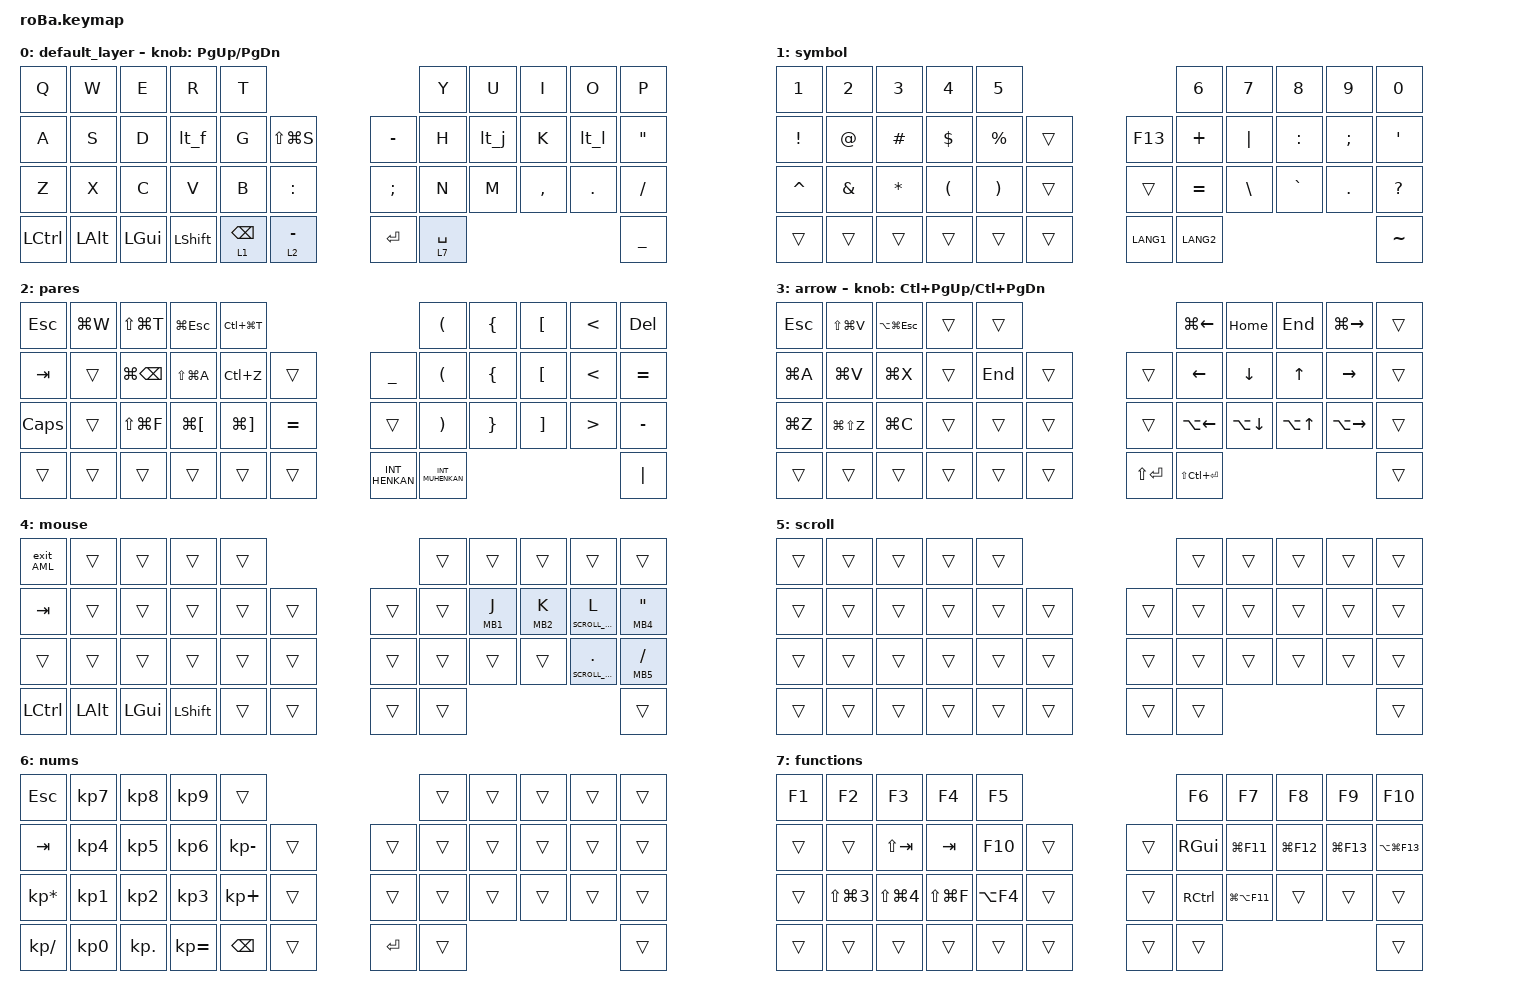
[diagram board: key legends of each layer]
#include <behaviors.dtsi>
#include <dt-bindings/zmk/bt.h>
#include <dt-bindings/zmk/keys.h>
#include <dt-bindings/zmk/pointing.h>
#include <input/processors.dtsi>
#include <dt-bindings/zmk/input_transform.h>
#define MOUSE_LAYER 4
#define SCROLL_LAYER 5

&mt {
    flavor = "balanced";
    quick-tap-ms = <0>;
};

&lt {
    quick-tap-ms = <200>;
    tapping-term-ms = <200>;
    flavor = "hold-preferred";
};

// exclude-positions確認用
// |          LEFT               |            |             RIGHT           |
// |  0 |  1 |  2 |  3 |  4 |                      |  5 |  6 |  7 |  8 |  9 |
// | 10 | 11 | 12 | 13 | 14 | 15 |            | 16 | 17 | 18 | 19 | 20 | 21 |
// | 22 | 23 | 24 | 25 | 26 | 27 |            | 28 | 29 | 30 | 31 | 32 | 33 |
// | 34 | 35 | 36 | 37 | 38 | 39 |            | 40 | 41 | <trackball>  | 42 |

&zip_temp_layer {
    excluded-positions = <
        18 // クリック
        19 // 右クリック
        20 // スクロール
        21 // 進む
        32 // スクロール（Keyballのクセで横スクロール用に押してしまう）
        33 // 戻る
        34 // Ctrl
        35 // Alt
        36 // Cmd
        37 // Shift
    >;
    require-prior-idle-ms = <200>;
};

&trackball_listener {
    input-processors = <&zip_temp_layer MOUSE_LAYER 10000>;
    scroller {
        layers = <SCROLL_LAYER>;
        input-processors = <
            &zip_xy_to_scroll_mapper
            &zip_scroll_scaler 1 16 // スクロール量を低減(分子 分母)
            &zip_scroll_transform INPUT_TRANSFORM_Y_INVERT // Y方向のスクロール向きを逆転
        >;
    };
};

/ {
    macros {
        to_layer_0: to_layer_0 {
            compatible = "zmk,behavior-macro-one-param";
            #binding-cells = <1>;
            bindings = <&to 0 &macro_param_1to1 &kp MACRO_PLACEHOLDER>;
            label = "TO_LAYER_0";
        };
        exit_AML: exit_AML {
            compatible = "zmk,behavior-macro";
            wait-ms = <0>;
            tap-ms = <0>;
            #binding-cells = <0>;
            bindings = <&tog_off MOUSE_LAYER>;
            label = "exit_AML";
        };

        kp_exit_AML: kp_exit_AML {
            compatible = "zmk,behavior-macro-one-param";
            wait-ms = <0>;
            tap-ms = <0>;
            #binding-cells = <1>;
            bindings = <&macro_param_1to1 &kp MACRO_PLACEHOLDER &exit_AML>;
            label = "KP_exit_AML";
        };

        mod_exit_AML: mod_exit_AML {
            compatible = "zmk,behavior-macro-one-param";
            wait-ms = <0>;
            tap-ms = <0>;
            #binding-cells = <1>;
            bindings =
                <&macro_press>,
                <&macro_param_1to1 &kp MACRO_PLACEHOLDER>,
                <&macro_tap>,
                <&exit_AML>,
                <&macro_pause_for_release>,
                <&macro_release>,
                <&macro_param_1to1 &kp MACRO_PLACEHOLDER>;

            label = "MOD_exit_AML";
        };

        mo_exit_AML: mo_exit_AML {
            compatible = "zmk,behavior-macro-one-param";
            wait-ms = <0>;
            tap-ms = <0>;
            #binding-cells = <1>;
            bindings =
                <&macro_press>,
                <&macro_param_1to1 &mo MACRO_PLACEHOLDER>,
                <&macro_tap>,
                <&exit_AML>,
                <&macro_pause_for_release>,
                <&macro_release>,
                <&macro_param_1to1 &mo MACRO_PLACEHOLDER>,
                <&macro_tap>;

            label = "MO_exit_AML";
        };

        mkp_exit_AML: mkp_exit_AML {
            compatible = "zmk,behavior-macro-one-param";
            #binding-cells = <1>;
            bindings =
                <&macro_press>,
                <&macro_param_1to1 &mkp MACRO_PLACEHOLDER>,
                <&macro_pause_for_release>,
                <&macro_release>,
                <&macro_param_1to1 &mkp MACRO_PLACEHOLDER>,
                <&macro_tap>,
                <&sl_250 MOUSE_LAYER>;

            label = "MKP_EXIT_AML";
        };
    };

    behaviors {
        tlt: tap_preferred_lt {
            compatible = "zmk,behavior-hold-tap";
            label = "TAP_PREFERRED_LT";
            #binding-cells = <2>;
            bindings = <&mo>, <&kp>;
            flavor = "tap-preferred";
            tapping-term-ms = <140>;
            quick-tap-ms = <200>;
        };

        sl_250: sl_250 {
            compatible = "zmk,behavior-sticky-key";
            label = "SL_250";
            bindings = <&mo>;
            #binding-cells = <1>;
            release-after-ms = <250>;
        };

        lt_quick: lt_quick {
            compatible = "zmk,behavior-hold-tap";
            label = "LT_QUICK";
            bindings = <&mo>, <&kp>;
            #binding-cells = <2>;
            tapping-term-ms = <130>; // 特定のレイヤー用の長い判定時間
            quick-tap-ms = <200>;
            flavor = "hold-preferred";
        };

        tog_off: toggle_layer_off {
            compatible = "zmk,behavior-toggle-layer";
            #binding-cells = <1>;
            display-name = "Toggle Layer Off";
            toggle-mode = "off";
        };

        lt_exit_AML: lt_exit_AML {
            compatible = "zmk,behavior-hold-tap";
            label = "LT_exit_AML";
            bindings = <&mo_exit_AML>, <&kp_exit_AML>;

            #binding-cells = <2>;
            tapping-term-ms = <200>;
            quick-tap-ms = <200>;
            flavor = "balanced";
        };

        lt_exit_AML_on_hold: lt_exit_AML_on_hold {
            compatible = "zmk,behavior-hold-tap";
            label = "LT_exit_AML_ON_HOLD";
            bindings = <&mo_exit_AML>, <&kp>;

            #binding-cells = <2>;
            tapping-term-ms = <200>;
            quick-tap-ms = <200>;
            flavor = "balanced";
        };

        mt_exit_AML: mt_exit_AML {
            compatible = "zmk,behavior-hold-tap";
            label = "MT_exit_AML";
            bindings = <&mod_exit_AML>, <&kp_exit_AML>;

            #binding-cells = <2>;
            tapping-term-ms = <200>;
            flavor = "balanced";
            quick-tap-ms = <200>;
        };

        mt_exit_AML_on_tap: mt_exit_AML_on_tap {
            compatible = "zmk,behavior-hold-tap";
            label = "MT_exit_AML_ON_TAP";
            bindings = <&kp>, <&kp_exit_AML>;

            #binding-cells = <2>;
            tapping-term-ms = <200>;
            flavor = "balanced";
            quick-tap-ms = <200>;
        };

        lt_to_layer_0: lt_to_layer_0 {
            compatible = "zmk,behavior-hold-tap";
            label = "LAYER_TAP_TO_0";
            bindings = <&mo>, <&to_layer_0>;

            #binding-cells = <2>;
            tapping-term-ms = <100>;
        };

        // modが押されているときはキー入力のみの動作にする
        // キー入力が優先されるようにする
        lt_f: lt_f {
            compatible = "zmk,behavior-mod-morph";
            label = "LT_F";
            #binding-cells = <0>;
            bindings = <&tlt 3 F>, <&kp F>;
            mods = <(MOD_LSFT|MOD_LCTL|MOD_LALT|MOD_LGUI)>;
            keep-mods = <(MOD_LSFT|MOD_LCTL|MOD_LALT|MOD_LGUI)>;
        };
        lt_j: lt_j {
            compatible = "zmk,behavior-mod-morph";
            label = "LT_J";
            #binding-cells = <0>;
            bindings = <&tlt 6 J>, <&kp J>;
            mods = <(MOD_LSFT|MOD_LCTL|MOD_LALT|MOD_LGUI)>;
            keep-mods = <(MOD_LSFT|MOD_LCTL|MOD_LALT|MOD_LGUI)>;
        };
        lt_l: lt_l {
            compatible = "zmk,behavior-mod-morph";
            label = "LT_L";
            #binding-cells = <0>;
            bindings = <&tlt 5 L>, <&kp L>;
            mods = <(MOD_LSFT|MOD_LCTL|MOD_LALT|MOD_LGUI)>;
            keep-mods = <(MOD_LSFT|MOD_LCTL|MOD_LALT|MOD_LGUI)>;
        };
        // マウスレイヤーのキー入力とマウスボタンを両立させる
        ml_c: mouse_layer_click {
            compatible = "zmk,behavior-hold-tap";
            label = "MOUSE_LAYER_CLICK";
            bindings = <&mkp>, <&kp_exit_AML>;
            #binding-cells = <2>;
            tapping-term-ms = <100>; // ごく短い長押し判定でクリック
            flavor = "tap-preferred";
        };
        ml_sc: mouse_layer_scroll {
            compatible = "zmk,behavior-hold-tap";
            label = "MOUSE_LAYER_SCROLL";
            bindings = <&mo>, <&kp_exit_AML>;
            #binding-cells = <2>;
            tapping-term-ms = <80>;
            flavor = "tap-preferred";
        };
        ml_l: mouse_layer_click_lapid {
            compatible = "zmk,behavior-hold-tap";
            label = "MOUSE_LAYER_CLICK_LEFT";
            bindings = <&mkp>, <&kp_exit_AML>;
            #binding-cells = <2>;
            // 左クリックとJはJ判定される時間をごく短く設定（左クリックがJに化ける問題が多くなるのを防ぐため）
            tapping-term-ms = <80>;
            flavor = "tap-preferred";        
        };
    };

    keymap {
        compatible = "zmk,keymap";

        default_layer {
            bindings = <
&kp Q        &kp W       &kp E      &kp R       &kp T                                                 &kp Y        &kp U    &kp I      &kp O    &kp P
&kp A        &kp S       &kp D      &lt_f       &kp G             &kp LS(LG(S))              &kp MINUS      &kp H        &lt_j  &kp K      &lt_l  &kp DQT
&kp Z        &kp X       &kp C      &kp V       &kp B             &kp COLON                  &kp SEMICOLON  &kp N        &kp M    &kp COMMA  &kp DOT  &kp SLASH
&kp LCTRL    &kp LALT    &kp LGUI   &kp LSHIFT  &lt_quick 1 BSPC  &lt 2 MINUS                &kp ENTER      &lt 7 SPACE                               &kp UNDER
            >;

            sensor-bindings = <&inc_dec_kp PG_UP PAGE_DOWN>;
        };

        symbol {
            bindings = <
&kp N1     &kp N2      &kp N3     &kp N4      &kp N5                            &kp N6     &kp N7    &kp N8     &kp N9    &kp N0
&kp EXCL   &kp AT      &kp HASH   &kp DOLLAR  &kp PRCNT  &trans      &kp F13    &kp PLUS   &kp PIPE  &kp COLON  &kp SEMI  &kp SQT
&kp CARET  &kp AMPS    &kp STAR   &kp LPAR    &kp RPAR   &trans      &trans     &kp EQUAL  &kp BSLH  &kp GRAVE  &kp DOT   &kp QUESTION
&trans     &trans      &trans     &trans      &trans     &trans      &kp LANG1  &kp LANG2                                 &kp TILDE
            >;
        };

        pares {
            bindings = <
&kp ESC    &kp LG(W)     &kp LS(LG(T))    &kp LG(ESC)    &kp LC(LG(T))                                     &kp LPAR       &kp LBRC    &kp LBKT   &kp LT    &kp DEL
&kp TAB    &trans        &kp LG(BSPC)     &kp LS(LG(A))  &kp LC(Z)       &trans            &kp UNDERSCORE  &kp LPAR       &kp LBRC    &kp LBKT   &kp LT    &kp EQUAL
&kp CAPS   &trans        &kp LS(LG(F))    &kp LG(LBKT)   &kp LG(RBKT)    &kp EQUAL         &trans          &kp RPAR       &kp RBRC    &kp RBKT   &kp GT    &kp MINUS
&trans     &trans        &trans           &trans         &trans          &trans            &kp INT_HENKAN  &kp INT_MUHENKAN                                &kp PIPE
            >;
        };

        arrow {
            bindings = <
&kp ESCAPE  &kp LS(LG(V))   &kp LA(LG(ESC))   &trans     &trans                              &kp LG(LEFT)      &kp HOME      &kp END     &kp LG(RIGHT)  &trans
&kp LG(A)   &kp LG(V)       &kp LG(X)         &trans     &kp END  &trans      &trans         &kp LEFT          &kp DOWN      &kp UP      &kp RIGHT      &trans
&kp LG(Z)   &kp LG(LS(Z))   &kp LG(C)         &trans     &trans   &trans      &trans         &kp LA(LEFT)      &kp LA(DOWN)  &kp LA(UP)  &kp LA(RIGHT)  &trans
&trans      &trans          &trans            &trans     &trans   &trans      &kp LS(ENTER)  &kp LS(LC(ENTER))                                          &trans
            >;

            sensor-bindings = <&inc_dec_kp LC(PAGE_UP) LC(PAGE_DOWN)>;
        };

        mouse {
            bindings = <
&exit_AML  &trans     &trans     &trans     &trans                      &trans  &trans       &trans       &trans                  &trans
&kp TAB    &trans     &trans     &trans     &trans  &trans      &trans  &trans  &ml_l MB1 J  &ml_c MB2 K  &ml_sc SCROLL_LAYER L   &ml_l MB4 DQT
&trans     &trans     &trans     &trans     &trans  &trans      &trans  &trans  &trans       &trans       &ml_sc SCROLL_LAYER DOT &ml_l MB5 SLASH
&kp LCTRL  &kp LALT   &kp LGUI   &kp LSHIFT &trans  &trans      &trans  &trans                                                    &trans
            >;
        };

        scroll {
            bindings = <
&trans  &trans  &trans  &trans  &trans                      &trans  &trans  &trans  &trans  &trans
&trans  &trans  &trans  &trans  &trans  &trans      &trans  &trans  &trans  &trans  &trans  &trans
&trans  &trans  &trans  &trans  &trans  &trans      &trans  &trans  &trans  &trans  &trans  &trans
&trans  &trans  &trans  &trans  &trans  &trans      &trans  &trans                          &trans
            >;
        };

        nums {
            bindings = <
&kp ESC          &kp KP_N7  &kp KP_N8  &kp KP_N9     &trans                               &trans  &trans  &trans  &trans  &trans
&kp TAB          &kp KP_N4  &kp KP_N5  &kp KP_N6     &kp KP_MINUS  &trans      &trans     &trans  &trans  &trans  &trans  &trans
&kp KP_MULTIPLY  &kp KP_N1  &kp KP_N2  &kp KP_N3     &kp KP_PLUS   &trans      &trans     &trans  &trans  &trans  &trans  &trans
&kp KP_DIVIDE    &kp KP_N0  &kp KP_DOT &kp KP_EQUAL  &kp BSPC      &trans      &kp ENTER  &trans                          &trans
            >;
        };

        functions {
            bindings = <
&kp F1  &kp F2         &kp F3         &kp F4         &kp F5                            &kp F6    &kp F7          &kp F8      &kp F9       &kp F10
&trans  &trans         &kp LS(TAB)    &kp TAB        &kp F10     &trans      &trans    &kp RGUI  &kp LG(F11)     &kp LG(F12) &kp LG(F13)  &kp LA(LG(F13))
&trans  &kp LS(LG(3))  &kp LS(LG(4))  &kp LS(LG(F))  &kp LA(F4)  &trans      &trans    &kp RCTRL &kp LG(LA(F11)) &trans      &trans       &trans
&trans  &trans         &trans         &trans         &trans      &trans      &trans    &trans                                &trans
            >;
        };
    };
};
